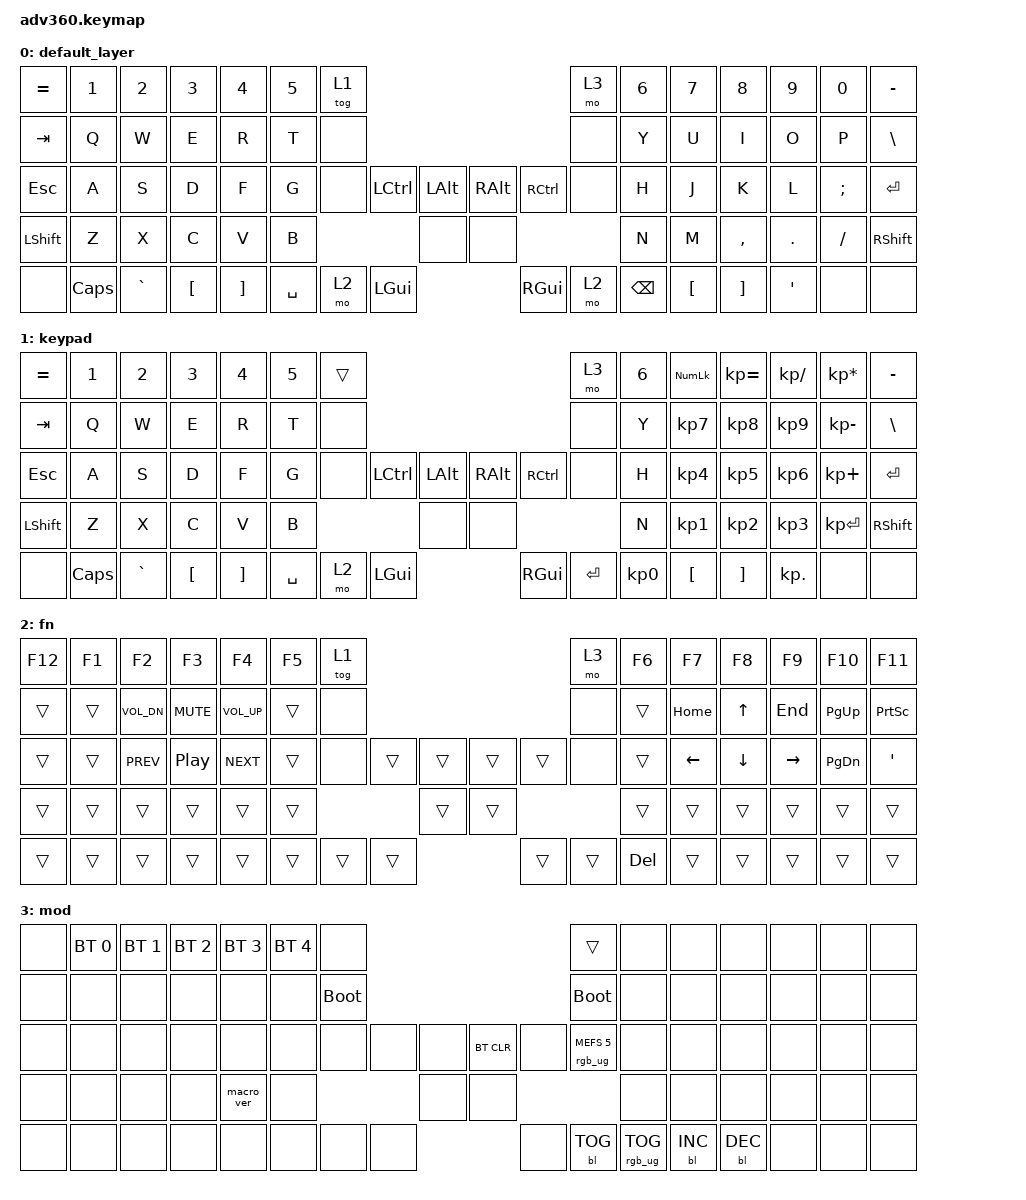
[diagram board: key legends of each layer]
#include <behaviors.dtsi>
#include <dt-bindings/zmk/keys.h>
#include <dt-bindings/zmk/bt.h>
#include <dt-bindings/zmk/rgb.h>
#include <dt-bindings/zmk/backlight.h>

/ {
    behaviors {
      #include "macros.dtsi"
      #include "version.dtsi"
      #ifndef VERSION_MACRO
      macro_ver: macro_ver {
        compatible = "zmk,behavior-macro";
        label = "macro_version";
        #binding-cells = <0>;
        bindings = <&kp RET>;
      };
      #endif

      hm: homerow_mods {
          compatible = "zmk,behavior-hold-tap";
          label = "HOMEROW_MODS";
          #binding-cells = <2>;
          tapping-term-ms = <200>;
          quick_tap_ms = <175>;
          flavor = "tap-preferred";
          bindings = <&kp>, <&kp>;
      };
    };

  keymap {
    compatible = "zmk,keymap";

    default_layer {
      bindings = <
        &kp EQUAL &kp N1   &kp N2    &kp N3   &kp N4   &kp N5 &tog 1                                                           &mo 3 &kp N6 &kp N7   &kp N8    &kp N9   &kp N0   &kp MINUS
        &kp TAB   &kp Q    &kp W     &kp E    &kp R    &kp T  &none                                                            &none &kp Y  &kp U    &kp I     &kp O    &kp P    &kp BSLH
        &kp ESC   &kp A    &kp S     &kp D    &kp F    &kp G  &none            &kp LCTRL &kp LALT &kp RALT &kp RCTRL           &none &kp H  &kp J    &kp K     &kp L    &kp SEMI &kp ENTER
        &kp LSHFT &kp Z    &kp X     &kp C    &kp V    &kp B                             &none    &none                              &kp N  &kp M    &kp COMMA &kp DOT  &kp FSLH &kp RSHFT
        &none     &kp CAPS &kp GRAVE &kp LBKT &kp RBKT               &kp SPACE &mo 2     &kp LGUI &kp RGUI &mo 2     &kp BSPC               &kp LBKT &kp RBKT  &kp SQT  &none    &none
      >;
    };
    keypad {
      bindings = <
        &kp EQUAL &kp N1   &kp N2    &kp N3   &kp N4   &kp N5 &trans                                                           &mo 3 &kp N6 &kp KP_NUM &kp KP_EQUAL &kp KP_DIVIDE &kp KP_MULTIPLY &kp MINUS
        &kp TAB   &kp Q    &kp W     &kp E    &kp R    &kp T  &none                                                            &none &kp Y  &kp KP_N7  &kp KP_N8    &kp KP_N9     &kp KP_MINUS    &kp BSLH
        &kp ESC   &kp A    &kp S     &kp D    &kp F    &kp G  &none            &kp LCTRL &kp LALT &kp RALT &kp RCTRL           &none &kp H  &kp KP_N4  &kp KP_N5    &kp KP_N6     &kp KP_PLUS     &kp ENTER
        &kp LSHFT &kp Z    &kp X     &kp C    &kp V    &kp B                             &none    &none                              &kp N  &kp KP_N1  &kp KP_N2    &kp KP_N3     &kp KP_ENTER    &kp RSHFT
        &none     &kp CAPS &kp GRAVE &kp LBKT &kp RBKT               &kp SPACE &mo 2     &kp LGUI &kp RGUI &kp ENTER &kp KP_N0              &kp LBKT   &kp RBKT     &kp KP_DOT    &none           &none
      >;
    };
    fn {
      bindings = <
        &kp F12 &kp F1 &kp F2       &kp F3     &kp F4       &kp F5 &tog 1                                           &mo 3 &kp F6 &kp F7   &kp F8   &kp F9    &kp F10   &kp F11
        &trans  &trans &kp C_VOL_DN &kp C_MUTE &kp C_VOL_UP &trans &none                                            &none &trans &kp HOME &kp UP   &kp END   &kp PG_UP &kp PSCRN
        &trans  &trans &kp C_PREV   &kp C_PP   &kp C_NEXT   &trans &none        &trans &trans &trans &trans         &none &trans &kp LEFT &kp DOWN &kp RIGHT &kp PG_DN &kp SQT
        &trans  &trans &trans       &trans     &trans       &trans                     &trans &trans                      &trans &trans   &trans   &trans    &trans    &trans
        &trans  &trans &trans       &trans     &trans                    &trans &trans &trans &trans &trans &kp DEL              &trans   &trans   &trans    &trans    &trans
      >;
    };
    mod {
      bindings = <
        &none &bt BT_SEL 0 &bt BT_SEL 1 &bt BT_SEL 2 &bt BT_SEL 3 &bt BT_SEL 4 &none                                                                     &trans                 &none        &none        &none        &none &none &none
        &none &none        &none        &none        &none        &none        &bootloader                                                               &bootloader            &none        &none        &none        &none &none &none
        &none &none        &none        &none        &none        &none        &none                   &none &none &bt BT_CLR &none                      &rgb_ug RGB_MEFS_CMD 5 &none        &none        &none        &none &none &none
        &none &none        &none        &none        &macro_ver   &none                                      &none &none                                                        &none        &none        &none        &none &none &none
        &none &none        &none        &none        &none                                       &none &none &none &none      &bl BL_TOG &rgb_ug RGB_TOG                                     &bl BL_INC   &bl BL_DEC   &none &none &none
      >;
    };
  };
};
